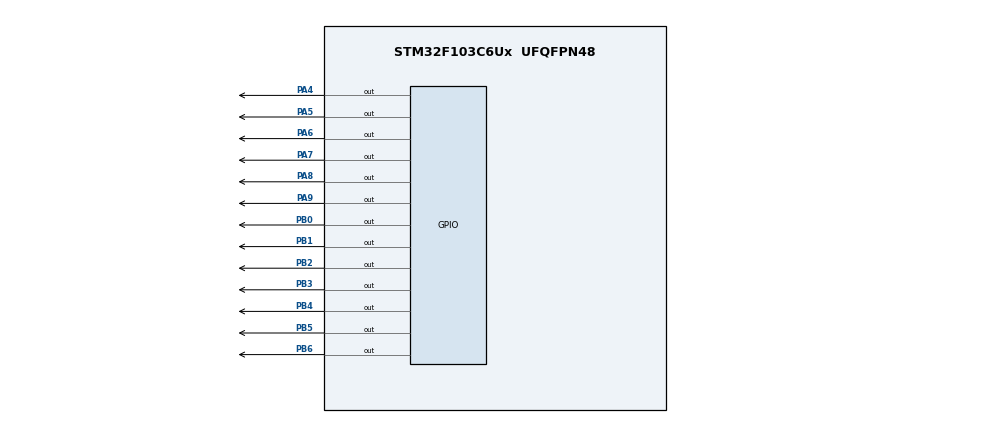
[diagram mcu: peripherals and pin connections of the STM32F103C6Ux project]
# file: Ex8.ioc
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Mcu.Family=STM32F1
Mcu.Name=STM32F103C6Ux
Mcu.Package=UFQFPN48
NVIC.PriorityGroup=NVIC_PRIORITYGROUP_4
NVIC.TIM2_IRQn=true\:0\:0\:false\:false\:true\:true\:true
PA4.Signal=GPIO_Output
PA5.Signal=GPIO_Output
PA6.Signal=GPIO_Output
PA7.Signal=GPIO_Output
PA8.Signal=GPIO_Output
PA9.Signal=GPIO_Output
PB0.Signal=GPIO_Output
PB1.Signal=GPIO_Output
PB2.Signal=GPIO_Output
PB3.Signal=GPIO_Output
PB4.Signal=GPIO_Output
PB5.Signal=GPIO_Output
PB6.Signal=GPIO_Output
ProjectManager.HeapSize=0x200
ProjectManager.StackSize=0x400
ProjectManager.TargetToolchain=STM32CubeIDE
RCC.APB1Freq_Value=8000000
RCC.APB2Freq_Value=8000000
TIM2.Period=9
TIM2.Prescaler=7999
VP_SYS_VS_ND.Mode=No_Debug
VP_TIM2_VS_ClockSourceINT.Mode=Internal
board=custom

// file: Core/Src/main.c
/* USER CODE BEGIN Header */
/**
  ******************************************************************************
  * @file           : main.c
  * @brief          : Main program body
  ******************************************************************************
  * @attention
  *
  * <h2><center>&copy; Copyright (c) 2022 STMicroelectronics.
  * All rights reserved.</center></h2>
  *
  * This software component is licensed by ST under BSD 3-Clause license,
  * the "License"; You may not use this file except in compliance with the
  * License. You may obtain a copy of the License at:
  *                        opensource.org/licenses/BSD-3-Clause
  *
  ******************************************************************************
  */
/* USER CODE END Header */
#include "main.h"

/* USER CODE BEGIN Includes */
#include "software_timer.h"
/* USER CODE END Includes */

TIM_HandleTypeDef htim2;

void SystemClock_Config(void);
static void MX_GPIO_Init(void);
static void MX_TIM2_Init(void);

/* USER CODE BEGIN 0 */
int arr[10] = {
		0x00C0,  //0
		0x00F9,  //1
		0x00A4,  //2
		0x00B0,  //3
		0x0099,  //4
		0x0092,  //5
		0x0082,  //6
		0x00F8,  //7
		0x0080,  //8
		0x0090,  //9
};
void display_7segment(int number){
//	HAL_GPIO_WritePin(GPIOB,GPIO_PIN_0,(arr[number]>>0)&0x01);
//	HAL_GPIO_WritePin(GPIOB,GPIO_PIN_1,(arr[number]>>1)&0x01);
//	HAL_GPIO_WritePin(GPIOB,GPIO_PIN_2,(arr[number]>>2)&0x01);
//	HAL_GPIO_WritePin(GPIOB,GPIO_PIN_3,(arr[number]>>3)&0x01);
//	HAL_GPIO_WritePin(GPIOB,GPIO_PIN_4,(arr[number]>>4)&0x01);
//	HAL_GPIO_WritePin(GPIOB,GPIO_PIN_5,(arr[number]>>5)&0x01);
//	HAL_GPIO_WritePin(GPIOB,GPIO_PIN_6,(arr[number]>>6)&0x01);
	GPIOB->ODR=arr[number];
}
const int MAX_LED = 4;
int index_led = 0;
int led_buffer[4] = {1,2,3,4};
void update7SEG(int index){
	switch(index){
		case 0:
			display_7segment(led_buffer[index]);
			break;
		case 1:
			display_7segment(led_buffer[index]);
			break;
		case 2:
			display_7segment(led_buffer[index]);
			break;
		case 3:
			display_7segment(led_buffer[index]);
			break;
		default:
			break;
	}
}
int h = 15,m = 8,s = 50;
void updateClockBuffer(){
	led_buffer[0] = (int)h/10;
	led_buffer[1] = (int)h%10;
	led_buffer[2] = (int)m/10;
	led_buffer[3] = (int)m%10;
}

/* USER CODE END 0 */

int main(void)
{

  /* MCU Configuration--------------------------------------------------------*/

  /* Reset of all peripherals, Initializes the Flash interface and the Systick. */
  HAL_Init();

  /* Configure the system clock */
  SystemClock_Config();

  /* Initialize all configured peripherals */
  MX_GPIO_Init();
  MX_TIM2_Init();
  /* USER CODE BEGIN 2 */
  HAL_TIM_Base_Start_IT (& htim2 ) ;
  /* USER CODE END 2 */

  /* Infinite loop */
  /* USER CODE BEGIN WHILE */
  int en[4] = {0,1,1,1};
  HAL_GPIO_WritePin(GPIOA,GPIO_PIN_6,en[0]);
  HAL_GPIO_WritePin(GPIOA,GPIO_PIN_7,en[1]);
  HAL_GPIO_WritePin(GPIOA,GPIO_PIN_8,en[2]);
  HAL_GPIO_WritePin(GPIOA,GPIO_PIN_9,en[3]);
  update7SEG(index_led);
  updateClockBuffer();
  setTimer0(100);//100
  setTimer1(50);//50
  while (1)
  {
	  if(timer_flag0 == 1){
		  setTimer0(100);
		  HAL_GPIO_TogglePin(GPIOA,GPIO_PIN_4);
		  HAL_GPIO_TogglePin(GPIOA,GPIO_PIN_5);
		  s++;
		  if(s == 60){
			  s = 0;
			  m++;
		  }
		  else if(m == 60){
			  m = 0;
			  h++;
		  }
		  else if(h == 24){
			  h = 0;
		  }
		  updateClockBuffer();
	  }
	  if(timer_flag1 == 1){
		  setTimer1(50);
	  	  en[index_led] = 1;
	  	  index_led++;
	  	  if(index_led >= MAX_LED){
	  		  index_led = 0;
	  	  }
	  	  en[index_led] = 0;
	  	  HAL_GPIO_WritePin(GPIOA,GPIO_PIN_6,en[0]);
	  	  HAL_GPIO_WritePin(GPIOA,GPIO_PIN_7,en[1]);
	  	  HAL_GPIO_WritePin(GPIOA,GPIO_PIN_8,en[2]);
	  	  HAL_GPIO_WritePin(GPIOA,GPIO_PIN_9,en[3]);
	  	  update7SEG(index_led);
	  }
    /* USER CODE END WHILE */

  }
}

void SystemClock_Config(void)
{
  RCC_OscInitTypeDef RCC_OscInitStruct = {0};
  RCC_ClkInitTypeDef RCC_ClkInitStruct = {0};

  /** Initializes the RCC Oscillators according to the specified parameters
  * in the RCC_OscInitTypeDef structure.
  */
  RCC_OscInitStruct.OscillatorType = RCC_OSCILLATORTYPE_HSI;
  RCC_OscInitStruct.HSIState = RCC_HSI_ON;
  RCC_OscInitStruct.HSICalibrationValue = RCC_HSICALIBRATION_DEFAULT;
  RCC_OscInitStruct.PLL.PLLState = RCC_PLL_NONE;
  if (HAL_RCC_OscConfig(&RCC_OscInitStruct) != HAL_OK)
  {
    Error_Handler();
  }
  /** Initializes the CPU, AHB and APB buses clocks
  */
  RCC_ClkInitStruct.ClockType = RCC_CLOCKTYPE_HCLK|RCC_CLOCKTYPE_SYSCLK
                              |RCC_CLOCKTYPE_PCLK1|RCC_CLOCKTYPE_PCLK2;
  RCC_ClkInitStruct.SYSCLKSource = RCC_SYSCLKSOURCE_HSI;
  RCC_ClkInitStruct.AHBCLKDivider = RCC_SYSCLK_DIV1;
  RCC_ClkInitStruct.APB1CLKDivider = RCC_HCLK_DIV1;
  RCC_ClkInitStruct.APB2CLKDivider = RCC_HCLK_DIV1;

  if (HAL_RCC_ClockConfig(&RCC_ClkInitStruct, FLASH_LATENCY_0) != HAL_OK)
  {
    Error_Handler();
  }
}

static void MX_TIM2_Init(void)
{

  TIM_ClockConfigTypeDef sClockSourceConfig = {0};
  TIM_MasterConfigTypeDef sMasterConfig = {0};

  htim2.Instance = TIM2;
  htim2.Init.Prescaler = 7999;
  htim2.Init.CounterMode = TIM_COUNTERMODE_UP;
  htim2.Init.Period = 9;
  htim2.Init.ClockDivision = TIM_CLOCKDIVISION_DIV1;
  htim2.Init.AutoReloadPreload = TIM_AUTORELOAD_PRELOAD_DISABLE;
  if (HAL_TIM_Base_Init(&htim2) != HAL_OK)
  {
    Error_Handler();
  }
  sClockSourceConfig.ClockSource = TIM_CLOCKSOURCE_INTERNAL;
  if (HAL_TIM_ConfigClockSource(&htim2, &sClockSourceConfig) != HAL_OK)
  {
    Error_Handler();
  }
  sMasterConfig.MasterOutputTrigger = TIM_TRGO_RESET;
  sMasterConfig.MasterSlaveMode = TIM_MASTERSLAVEMODE_DISABLE;
  if (HAL_TIMEx_MasterConfigSynchronization(&htim2, &sMasterConfig) != HAL_OK)
  {
    Error_Handler();
  }

}

static void MX_GPIO_Init(void)
{
  GPIO_InitTypeDef GPIO_InitStruct = {0};

  /* GPIO Ports Clock Enable */
  __HAL_RCC_GPIOA_CLK_ENABLE();
  __HAL_RCC_GPIOB_CLK_ENABLE();

  /*Configure GPIO pin Output Level */
  HAL_GPIO_WritePin(GPIOA, GPIO_PIN_4|GPIO_PIN_5|GPIO_PIN_6|GPIO_PIN_7
                          |GPIO_PIN_8|GPIO_PIN_9, GPIO_PIN_RESET);

  /*Configure GPIO pin Output Level */
  HAL_GPIO_WritePin(GPIOB, GPIO_PIN_0|GPIO_PIN_1|GPIO_PIN_2|GPIO_PIN_3
                          |GPIO_PIN_4|GPIO_PIN_5|GPIO_PIN_6, GPIO_PIN_RESET);

  /*Configure GPIO pins : PA4 PA5 PA6 PA7
                           PA8 PA9 */
  GPIO_InitStruct.Pin = GPIO_PIN_4|GPIO_PIN_5|GPIO_PIN_6|GPIO_PIN_7
                          |GPIO_PIN_8|GPIO_PIN_9;
  GPIO_InitStruct.Mode = GPIO_MODE_OUTPUT_PP;
  GPIO_InitStruct.Pull = GPIO_NOPULL;
  GPIO_InitStruct.Speed = GPIO_SPEED_FREQ_LOW;
  HAL_GPIO_Init(GPIOA, &GPIO_InitStruct);

  /*Configure GPIO pins : PB0 PB1 PB2 PB3
                           PB4 PB5 PB6 */
  GPIO_InitStruct.Pin = GPIO_PIN_0|GPIO_PIN_1|GPIO_PIN_2|GPIO_PIN_3
                          |GPIO_PIN_4|GPIO_PIN_5|GPIO_PIN_6;
  GPIO_InitStruct.Mode = GPIO_MODE_OUTPUT_PP;
  GPIO_InitStruct.Pull = GPIO_NOPULL;
  GPIO_InitStruct.Speed = GPIO_SPEED_FREQ_LOW;
  HAL_GPIO_Init(GPIOB, &GPIO_InitStruct);

}

/* USER CODE BEGIN 4 */
void HAL_TIM_PeriodElapsedCallback ( TIM_HandleTypeDef * htim ){
	timerRun();
}

/* USER CODE END 4 */

void Error_Handler(void)
{
  __disable_irq();
  while (1)
  {
  }
}

/************************ (C) COPYRIGHT STMicroelectronics *****END OF FILE****/
